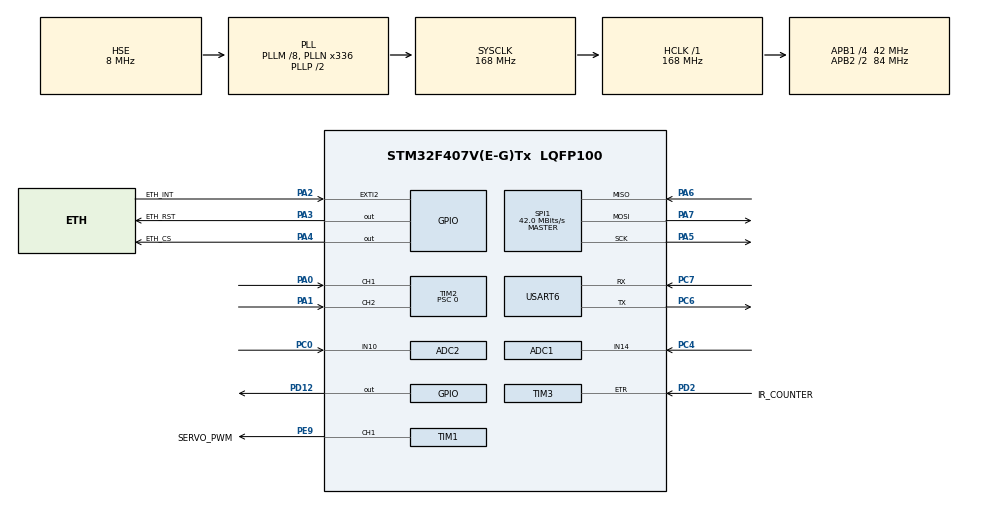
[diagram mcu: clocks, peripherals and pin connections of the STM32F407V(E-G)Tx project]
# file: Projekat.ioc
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ADC1.Channel-1\#ChannelRegularConversion=ADC_CHANNEL_14
ADC1.ContinuousConvMode=ENABLE
ADC1.NbrOfConversionFlag=1
ADC1.Rank-1\#ChannelRegularConversion=1
ADC1.Resolution=ADC_RESOLUTION_8B
ADC1.SamplingTime-1\#ChannelRegularConversion=ADC_SAMPLETIME_3CYCLES
ADC1.master=1
ADC2.Channel-0\#ChannelRegularConversion=ADC_CHANNEL_10
ADC2.NbrOfConversionFlag=1
ADC2.Rank-0\#ChannelRegularConversion=1
ADC2.SamplingTime-0\#ChannelRegularConversion=ADC_SAMPLETIME_3CYCLES
Mcu.Family=STM32F4
Mcu.Name=STM32F407V(E-G)Tx
Mcu.Package=LQFP100
NVIC.ADC_IRQn=true\:0\:0\:false\:false\:true\:true\:true\:true
NVIC.EXTI2_IRQn=true\:0\:0\:false\:false\:true\:true\:true\:true
NVIC.PriorityGroup=NVIC_PRIORITYGROUP_0
NVIC.TIM5_IRQn=true\:0\:0\:false\:false\:true\:true\:true\:true
NVIC.USART6_IRQn=true\:0\:0\:false\:false\:true\:true\:true\:true
PA0-WKUP.Signal=S_TIM2_CH1_ETR
PA1.Signal=S_TIM2_CH2
PA2.GPIO_Label=ETH_INT
PA2.GPIO_ModeDefaultEXTI=GPIO_MODE_IT_FALLING
PA2.GPIO_PuPd=GPIO_PULLUP
PA2.Signal=GPXTI2
PA3.GPIO_Label=ETH_RST
PA3.GPIO_PuPd=GPIO_PULLUP
PA3.GPIO_Speed=GPIO_SPEED_FREQ_VERY_HIGH
PA3.PinState=GPIO_PIN_SET
PA3.Signal=GPIO_Output
PA4.GPIO_Label=ETH_CS
PA4.Signal=GPIO_Output
PA5.Mode=Full_Duplex_Master
PA5.Signal=SPI1_SCK
PA6.Mode=Full_Duplex_Master
PA6.Signal=SPI1_MISO
PA7.Mode=Full_Duplex_Master
PA7.Signal=SPI1_MOSI
PC0.Signal=ADCx_IN10
PC4.Signal=ADCx_IN14
PC6.Mode=Asynchronous
PC6.Signal=USART6_TX
PC7.Mode=Asynchronous
PC7.Signal=USART6_RX
PD12.Signal=GPIO_Output
PD2.GPIO_Label=IR_COUNTER
PD2.Signal=S_TIM3_ETR
PE9.GPIO_Label=SERVO_PWM
PE9.GPIO_PuPd=GPIO_PULLDOWN
PE9.Signal=S_TIM1_CH1
PH0-OSC_IN.Mode=HSE-External-Oscillator
PH0-OSC_IN.Signal=RCC_OSC_IN
PH1-OSC_OUT.Mode=HSE-External-Oscillator
PH1-OSC_OUT.Signal=RCC_OSC_OUT
ProjectManager.HeapSize=0x200
ProjectManager.StackSize=0x400
ProjectManager.TargetToolchain=STM32CubeIDE
RCC.48MHZClocksFreq_Value=48000000
RCC.AHBFreq_Value=168000000
RCC.APB1CLKDivider=RCC_HCLK_DIV4
RCC.APB1Freq_Value=42000000
RCC.APB1TimFreq_Value=84000000
RCC.APB2CLKDivider=RCC_HCLK_DIV2
RCC.APB2Freq_Value=84000000
RCC.APB2TimFreq_Value=168000000
RCC.CortexFreq_Value=168000000
RCC.HCLKFreq_Value=168000000
RCC.HSE_VALUE=8000000
RCC.HSI_VALUE=16000000
RCC.LSE_VALUE=32768
RCC.PLLM=8
RCC.PLLN=336
RCC.PLLQ=7
RCC.PLLSourceVirtual=RCC_PLLSOURCE_HSE
RCC.SYSCLKFreq_VALUE=168000000
RCC.SYSCLKSource=RCC_SYSCLKSOURCE_PLLCLK
RCC.VCOOutputFreq_Value=336000000
SH.ADCx_IN10.0=ADC2_IN10,IN10
SH.ADCx_IN14.0=ADC1_IN14,IN14
SH.S_TIM1_CH1.0=TIM1_CH1,PWM Generation1 CH1
SH.S_TIM2_CH1_ETR.0=TIM2_CH1,Encoder_Interface
SH.S_TIM2_CH2.0=TIM2_CH2,Encoder_Interface
SH.S_TIM3_ETR.0=TIM3_ETR,ClockSourceETR_Mode2
SPI1.CalculateBaudRate=42.0 MBits/s
SPI1.Direction=SPI_DIRECTION_2LINES
SPI1.Mode=SPI_MODE_MASTER
SPI1.VirtualType=VM_MASTER
TIM1.Channel-PWM\ Generation1\ CH1=TIM_CHANNEL_1
TIM1.OCFastMode_PWM-PWM\ Generation1\ CH1=TIM_OCFAST_ENABLE
TIM1.Period=1000+1
TIM1.Prescaler=3360+1
TIM1.Pulse-PWM\ Generation1\ CH1=50
TIM2.AutoReloadPreload=TIM_AUTORELOAD_PRELOAD_ENABLE
TIM2.CounterMode=TIM_COUNTERMODE_CENTERALIGNED1
TIM2.EncoderMode=TIM_ENCODERMODE_TI12
TIM2.Period=58
TIM2.Prescaler=0
TIM5.AutoReloadPreload=TIM_AUTORELOAD_PRELOAD_ENABLE
TIM5.Period=12000
TIM5.Prescaler=42000+1
USART6.VirtualMode=VM_ASYNC
VP_TIM1_VS_ClockSourceINT.Mode=Internal
VP_TIM5_VS_ClockSourceITR.Mode=TriggerSource_ITR0
board=STM32F407G-DISC1

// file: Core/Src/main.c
/* USER CODE BEGIN Header */
/**
 ******************************************************************************
 * @file           : main.c
 * @brief          : Main program body
 ******************************************************************************
 * @attention
 *
 * Copyright (c) 2024 STMicroelectronics.
 * All rights reserved.
 *
 * This software is licensed under terms that can be found in the LICENSE file
 * in the root directory of this software component.
 * If no LICENSE file comes with this software, it is provided AS-IS.
 *
 ******************************************************************************
 */
/* USER CODE END Header */
#include "main.h"

/* USER CODE BEGIN Includes */
#include "string.h"
#include "stdio.h"
#include "eth.h"
#include "servo.h"
#include "w5500.h"
#include "controller.h"

/* USER CODE END Includes */

/* USER CODE BEGIN PD */
#define BUFSIZE 255
#define angle 4
#define diameterInCM 12
#define pi 3
#define TSR 2
#define rotationsPerCycle 3
/* USER CODE END PD */

ADC_HandleTypeDef hadc1;
ADC_HandleTypeDef hadc2;

SPI_HandleTypeDef hspi1;

TIM_HandleTypeDef htim1;
TIM_HandleTypeDef htim2;
TIM_HandleTypeDef htim3;
TIM_HandleTypeDef htim5;

UART_HandleTypeDef huart6;

/* USER CODE BEGIN PV */
uint8_t ETH_RCV = 0;
uint8_t rx_buffer[BUFSIZE + 2] = { 0 };
uint8_t rx_input[1] = { 0 };
uint8_t rx_index = 0;
char msgbuf[1024];
char uart_buff[1024];
char ethbuf[512];
UART_HandleTypeDef *UART = &huart6;
TIM_HandleTypeDef *PWM_Timer = &htim1;
uint8_t sck;
uint16_t speed = 0;
uint16_t encoder_counter = 0;
uint16_t wind_angle = 0;
uint16_t blade_angle = 0;
uint8_t calculate = 0;
struct Controller *ctrl;
int16_t sysload = 0;
uint8_t turn_on = 1;
uint8_t blade_angle_regulator;
uint16_t voltage;
int16_t induction=0;
int16_t resistance;
/* USER CODE END PV */

void SystemClock_Config(void);
static void MX_GPIO_Init(void);
static void MX_USART6_UART_Init(void);
static void MX_TIM1_Init(void);
static void MX_SPI1_Init(void);
static void MX_TIM5_Init(void);
static void MX_TIM3_Init(void);
static void MX_TIM2_Init(void);
static void MX_ADC1_Init(void);
static void MX_ADC2_Init(void);

/* USER CODE BEGIN 0 */

void UART_Message(char *msg) {
	sprintf(msgbuf, msg);
	HAL_UART_Transmit(UART, (uint8_t*) msgbuf, strlen(msgbuf), 100);
}

void UART_Send() {
	HAL_UART_Transmit(UART, (uint8_t*) msgbuf, strlen(msgbuf), 100);
}

void HAL_UART_RxCpltCallback(UART_HandleTypeDef *huart) {
	if (rx_input[0] == (uint8_t) '\r' || rx_input[0] == (uint8_t) '\n') {
		char newline[] = "\r\n";
		HAL_UART_Transmit(UART, (uint8_t*) newline, strlen(newline), 100);
		memcpy(&rx_buffer[rx_index + 1], newline, sizeof newline);

		HAL_UART_Transmit(UART, rx_buffer, sizeof(rx_buffer) / sizeof(uint8_t),
				100);
		rx_index = 0;
		memset(rx_buffer, 0, sizeof(rx_buffer));
	} else {
		HAL_UART_Transmit(UART, rx_input, 1, 100);
		rx_buffer[rx_index++] = rx_input[0];
	}
	HAL_UART_Receive_IT(UART, rx_input, 1);
}

void HAL_GPIO_EXTI_Callback(uint16_t GPIO_Pin) {
	ETH_RCV = ETH_Recieve(&sck, ethbuf);
}

void HAL_TIM_PeriodElapsedCallback(TIM_HandleTypeDef *htim) {
	if (htim == &htim5) {
		speed = CalculateSpeed(htim3.Instance->CNT);
		htim3.Instance->CNT = 0;
		calculate = 1;
	}
}

void windInformation() {
	encoder_counter = __HAL_TIM_GET_COUNTER(&htim2);
	wind_angle = encoder_counter;
	regulator();
	HAL_ADC_PollForConversion(&hadc1, 1000);
	sysload = HAL_ADC_GetValue(&hadc1) >> 1;
	sprintf(uart_buff, "Wind speed: %d m/s, Load: %d%%, Wind angle: %d \r\n", speed, sysload,
			wind_angle);
	HAL_UART_Transmit(&huart6, (uint8_t*) uart_buff, strlen(uart_buff), 500);
	calculate = 0;
}

void regulator(){
	if(wind_angle>60||wind_angle<300) turn_on = 0;
	else if(wind_angle>48||wind_angle<312) blade_angle_regulator = 5;
	else if(wind_angle>36||wind_angle<324) blade_angle_regulator = 4;
	else if(wind_angle>24||wind_angle<336) blade_angle_regulator = 3;
	else if(wind_angle>12||wind_angle<348) blade_angle_regulator = 4;
	else blade_angle_regulator = 1;

	HAL_ADC_Start(&hadc2);
	while(HAL_ADC_PollForConversion(&hadc1, 500) != HAL_OK);
	voltage = (HAL_ADC_GetValue(&hadc2)*3000)/4095;
	induction = (667*voltage-1667)/1000;
	resistance = induction/20;
	if(abs(resistance-sysload)>100){
		sprintf(uart_buff, "Resistance should be changed by %d Ohm\r\n", resistance-sysload);
		HAL_UART_Transmit(&huart6, (uint8_t*) uart_buff, strlen(uart_buff), 500);
	}
}

int CalculateSpeed(uint32_t counter) {
	return counter * pi * diameterInCM * 10 / (TSR * 100 * rotationsPerCycle);
}

//void HAL_ADC_LevelOutOfWindowCallback(ADC_HandleTypeDef *hadc) {
//	/* Set variable to report analog watchdog out of window status to main      */
//	/* program.                                                                 */
//	int uhADCxConvertedValue = HAL_ADC_GetValue(&hadc1);
//	char msg_buffer[1024] = { 0 };
//	sprintf(msg_buffer, hal_msg, uhADCxConvertedValue);
//	HAL_UART_Transmit(&huart6, (uint8_t *)msg_buffer, strlen(msg_buffer), 100);
//}
/* USER CODE END 0 */

int main(void)
{

  /* MCU Configuration--------------------------------------------------------*/

  /* Reset of all peripherals, Initializes the Flash interface and the Systick. */
  HAL_Init();

  /* Configure the system clock */
  SystemClock_Config();

  /* Initialize all configured peripherals */
  MX_GPIO_Init();
  MX_USART6_UART_Init();
  MX_TIM1_Init();
  MX_SPI1_Init();
  MX_TIM5_Init();
  MX_TIM3_Init();
  MX_TIM2_Init();
  MX_ADC1_Init();
  MX_ADC2_Init();
  /* USER CODE BEGIN 2 */
	ETH_Init();
	SERVO_Init();
//	ctrl = CTRL_ControllerZeroInit();
	char temp[256] = {"0303051525015099102030405060708090"};
	ctrl = CTRL_ControllerInit();
	CTRL_SetParameters(ctrl, temp);

	UART_Message("Starting the program ...\r\n");
	HAL_UART_Receive_IT(&huart6, rx_input, 1);

	SERVO_On();

	HAL_TIM_Base_Start_IT(&htim3);
	HAL_TIM_Base_Start_IT(&htim5);
	HAL_TIM_Encoder_Start(&htim2, TIM_CHANNEL_ALL);
	HAL_ADC_Start_IT(&hadc2);
  /* USER CODE END 2 */

  /* Infinite loop */
  /* USER CODE BEGIN WHILE */
	if (ETH_SocketInit(&sck)) {
		ETH_Connect(&sck, "192.168.100.6:8080");
	}
	while (1) {
		if (ETH_RCV) {
			ETH_MessageHandler(&sck, ethbuf, ETH_RCV);
			ETH_RCV = 0;
			memset(ethbuf, 0, sizeof(ethbuf));
		}
		if (calculate) {
			HAL_ADC_Start(&hadc1);
			windInformation();
			int temp = (CTRL_FindAngle(ctrl, speed, sysload) / blade_angle_regulator) * turn_on;
			if (temp != blade_angle){
				sprintf(msgbuf, "Setting blade angle to %d ...\r\n", temp);
				UART_Send();
			}
			blade_angle = temp;
		}
		SERVO_SetAngle(blade_angle);
    /* USER CODE END WHILE */

	}
}

void SystemClock_Config(void)
{
  RCC_OscInitTypeDef RCC_OscInitStruct = {0};
  RCC_ClkInitTypeDef RCC_ClkInitStruct = {0};

  /** Configure the main internal regulator output voltage
  */
  __HAL_RCC_PWR_CLK_ENABLE();
  __HAL_PWR_VOLTAGESCALING_CONFIG(PWR_REGULATOR_VOLTAGE_SCALE1);

  /** Initializes the RCC Oscillators according to the specified parameters
  * in the RCC_OscInitTypeDef structure.
  */
  RCC_OscInitStruct.OscillatorType = RCC_OSCILLATORTYPE_HSE;
  RCC_OscInitStruct.HSEState = RCC_HSE_ON;
  RCC_OscInitStruct.PLL.PLLState = RCC_PLL_ON;
  RCC_OscInitStruct.PLL.PLLSource = RCC_PLLSOURCE_HSE;
  RCC_OscInitStruct.PLL.PLLM = 8;
  RCC_OscInitStruct.PLL.PLLN = 336;
  RCC_OscInitStruct.PLL.PLLP = RCC_PLLP_DIV2;
  RCC_OscInitStruct.PLL.PLLQ = 7;
  if (HAL_RCC_OscConfig(&RCC_OscInitStruct) != HAL_OK)
  {
    Error_Handler();
  }

  /** Initializes the CPU, AHB and APB buses clocks
  */
  RCC_ClkInitStruct.ClockType = RCC_CLOCKTYPE_HCLK|RCC_CLOCKTYPE_SYSCLK
                              |RCC_CLOCKTYPE_PCLK1|RCC_CLOCKTYPE_PCLK2;
  RCC_ClkInitStruct.SYSCLKSource = RCC_SYSCLKSOURCE_PLLCLK;
  RCC_ClkInitStruct.AHBCLKDivider = RCC_SYSCLK_DIV1;
  RCC_ClkInitStruct.APB1CLKDivider = RCC_HCLK_DIV4;
  RCC_ClkInitStruct.APB2CLKDivider = RCC_HCLK_DIV2;

  if (HAL_RCC_ClockConfig(&RCC_ClkInitStruct, FLASH_LATENCY_5) != HAL_OK)
  {
    Error_Handler();
  }
}

static void MX_ADC1_Init(void)
{

  ADC_ChannelConfTypeDef sConfig = {0};

  /** Configure the global features of the ADC (Clock, Resolution, Data Alignment and number of conversion)
  */
  hadc1.Instance = ADC1;
  hadc1.Init.ClockPrescaler = ADC_CLOCK_SYNC_PCLK_DIV4;
  hadc1.Init.Resolution = ADC_RESOLUTION_8B;
  hadc1.Init.ScanConvMode = DISABLE;
  hadc1.Init.ContinuousConvMode = ENABLE;
  hadc1.Init.DiscontinuousConvMode = DISABLE;
  hadc1.Init.ExternalTrigConvEdge = ADC_EXTERNALTRIGCONVEDGE_NONE;
  hadc1.Init.ExternalTrigConv = ADC_SOFTWARE_START;
  hadc1.Init.DataAlign = ADC_DATAALIGN_RIGHT;
  hadc1.Init.NbrOfConversion = 1;
  hadc1.Init.DMAContinuousRequests = DISABLE;
  hadc1.Init.EOCSelection = ADC_EOC_SINGLE_CONV;
  if (HAL_ADC_Init(&hadc1) != HAL_OK)
  {
    Error_Handler();
  }

  /** Configure for the selected ADC regular channel its corresponding rank in the sequencer and its sample time.
  */
  sConfig.Channel = ADC_CHANNEL_14;
  sConfig.Rank = 1;
  sConfig.SamplingTime = ADC_SAMPLETIME_3CYCLES;
  if (HAL_ADC_ConfigChannel(&hadc1, &sConfig) != HAL_OK)
  {
    Error_Handler();
  }

}

static void MX_ADC2_Init(void)
{

  ADC_ChannelConfTypeDef sConfig = {0};

  /** Configure the global features of the ADC (Clock, Resolution, Data Alignment and number of conversion)
  */
  hadc2.Instance = ADC2;
  hadc2.Init.ClockPrescaler = ADC_CLOCK_SYNC_PCLK_DIV4;
  hadc2.Init.Resolution = ADC_RESOLUTION_12B;
  hadc2.Init.ScanConvMode = DISABLE;
  hadc2.Init.ContinuousConvMode = DISABLE;
  hadc2.Init.DiscontinuousConvMode = DISABLE;
  hadc2.Init.ExternalTrigConvEdge = ADC_EXTERNALTRIGCONVEDGE_NONE;
  hadc2.Init.ExternalTrigConv = ADC_SOFTWARE_START;
  hadc2.Init.DataAlign = ADC_DATAALIGN_RIGHT;
  hadc2.Init.NbrOfConversion = 1;
  hadc2.Init.DMAContinuousRequests = DISABLE;
  hadc2.Init.EOCSelection = ADC_EOC_SINGLE_CONV;
  if (HAL_ADC_Init(&hadc2) != HAL_OK)
  {
    Error_Handler();
  }

  /** Configure for the selected ADC regular channel its corresponding rank in the sequencer and its sample time.
  */
  sConfig.Channel = ADC_CHANNEL_10;
  sConfig.Rank = 1;
  sConfig.SamplingTime = ADC_SAMPLETIME_3CYCLES;
  if (HAL_ADC_ConfigChannel(&hadc2, &sConfig) != HAL_OK)
  {
    Error_Handler();
  }

}

static void MX_SPI1_Init(void)
{

  /* SPI1 parameter configuration*/
  hspi1.Instance = SPI1;
  hspi1.Init.Mode = SPI_MODE_MASTER;
  hspi1.Init.Direction = SPI_DIRECTION_2LINES;
  hspi1.Init.DataSize = SPI_DATASIZE_8BIT;
  hspi1.Init.CLKPolarity = SPI_POLARITY_LOW;
  hspi1.Init.CLKPhase = SPI_PHASE_1EDGE;
  hspi1.Init.NSS = SPI_NSS_SOFT;
  hspi1.Init.BaudRatePrescaler = SPI_BAUDRATEPRESCALER_2;
  hspi1.Init.FirstBit = SPI_FIRSTBIT_MSB;
  hspi1.Init.TIMode = SPI_TIMODE_DISABLE;
  hspi1.Init.CRCCalculation = SPI_CRCCALCULATION_DISABLE;
  hspi1.Init.CRCPolynomial = 10;
  if (HAL_SPI_Init(&hspi1) != HAL_OK)
  {
    Error_Handler();
  }

}

static void MX_TIM1_Init(void)
{

  TIM_ClockConfigTypeDef sClockSourceConfig = {0};
  TIM_MasterConfigTypeDef sMasterConfig = {0};
  TIM_OC_InitTypeDef sConfigOC = {0};
  TIM_BreakDeadTimeConfigTypeDef sBreakDeadTimeConfig = {0};

  htim1.Instance = TIM1;
  htim1.Init.Prescaler = 3360+1;
  htim1.Init.CounterMode = TIM_COUNTERMODE_UP;
  htim1.Init.Period = 1000+1;
  htim1.Init.ClockDivision = TIM_CLOCKDIVISION_DIV1;
  htim1.Init.RepetitionCounter = 0;
  htim1.Init.AutoReloadPreload = TIM_AUTORELOAD_PRELOAD_DISABLE;
  if (HAL_TIM_Base_Init(&htim1) != HAL_OK)
  {
    Error_Handler();
  }
  sClockSourceConfig.ClockSource = TIM_CLOCKSOURCE_INTERNAL;
  if (HAL_TIM_ConfigClockSource(&htim1, &sClockSourceConfig) != HAL_OK)
  {
    Error_Handler();
  }
  if (HAL_TIM_PWM_Init(&htim1) != HAL_OK)
  {
    Error_Handler();
  }
  sMasterConfig.MasterOutputTrigger = TIM_TRGO_RESET;
  sMasterConfig.MasterSlaveMode = TIM_MASTERSLAVEMODE_DISABLE;
  if (HAL_TIMEx_MasterConfigSynchronization(&htim1, &sMasterConfig) != HAL_OK)
  {
    Error_Handler();
  }
  sConfigOC.OCMode = TIM_OCMODE_PWM1;
  sConfigOC.Pulse = 50;
  sConfigOC.OCPolarity = TIM_OCPOLARITY_HIGH;
  sConfigOC.OCNPolarity = TIM_OCNPOLARITY_HIGH;
  sConfigOC.OCFastMode = TIM_OCFAST_ENABLE;
  sConfigOC.OCIdleState = TIM_OCIDLESTATE_RESET;
  sConfigOC.OCNIdleState = TIM_OCNIDLESTATE_RESET;
  if (HAL_TIM_PWM_ConfigChannel(&htim1, &sConfigOC, TIM_CHANNEL_1) != HAL_OK)
  {
    Error_Handler();
  }
  sBreakDeadTimeConfig.OffStateRunMode = TIM_OSSR_DISABLE;
  sBreakDeadTimeConfig.OffStateIDLEMode = TIM_OSSI_DISABLE;
  sBreakDeadTimeConfig.LockLevel = TIM_LOCKLEVEL_OFF;
  sBreakDeadTimeConfig.DeadTime = 0;
  sBreakDeadTimeConfig.BreakState = TIM_BREAK_DISABLE;
  sBreakDeadTimeConfig.BreakPolarity = TIM_BREAKPOLARITY_HIGH;
  sBreakDeadTimeConfig.AutomaticOutput = TIM_AUTOMATICOUTPUT_DISABLE;
  if (HAL_TIMEx_ConfigBreakDeadTime(&htim1, &sBreakDeadTimeConfig) != HAL_OK)
  {
    Error_Handler();
  }
  HAL_TIM_MspPostInit(&htim1);

}

static void MX_TIM2_Init(void)
{

  TIM_Encoder_InitTypeDef sConfig = {0};
  TIM_MasterConfigTypeDef sMasterConfig = {0};

  htim2.Instance = TIM2;
  htim2.Init.Prescaler = 0;
  htim2.Init.CounterMode = TIM_COUNTERMODE_CENTERALIGNED1;
  htim2.Init.Period = 58;
  htim2.Init.ClockDivision = TIM_CLOCKDIVISION_DIV1;
  htim2.Init.AutoReloadPreload = TIM_AUTORELOAD_PRELOAD_ENABLE;
  sConfig.EncoderMode = TIM_ENCODERMODE_TI12;
  sConfig.IC1Polarity = TIM_ICPOLARITY_RISING;
  sConfig.IC1Selection = TIM_ICSELECTION_DIRECTTI;
  sConfig.IC1Prescaler = TIM_ICPSC_DIV1;
  sConfig.IC1Filter = 0;
  sConfig.IC2Polarity = TIM_ICPOLARITY_RISING;
  sConfig.IC2Selection = TIM_ICSELECTION_DIRECTTI;
  sConfig.IC2Prescaler = TIM_ICPSC_DIV1;
  sConfig.IC2Filter = 0;
  if (HAL_TIM_Encoder_Init(&htim2, &sConfig) != HAL_OK)
  {
    Error_Handler();
  }
  sMasterConfig.MasterOutputTrigger = TIM_TRGO_RESET;
  sMasterConfig.MasterSlaveMode = TIM_MASTERSLAVEMODE_DISABLE;
  if (HAL_TIMEx_MasterConfigSynchronization(&htim2, &sMasterConfig) != HAL_OK)
  {
    Error_Handler();
  }

}

static void MX_TIM3_Init(void)
{

  TIM_ClockConfigTypeDef sClockSourceConfig = {0};
  TIM_MasterConfigTypeDef sMasterConfig = {0};

  htim3.Instance = TIM3;
  htim3.Init.Prescaler = 0;
  htim3.Init.CounterMode = TIM_COUNTERMODE_UP;
  htim3.Init.Period = 65535;
  htim3.Init.ClockDivision = TIM_CLOCKDIVISION_DIV1;
  htim3.Init.AutoReloadPreload = TIM_AUTORELOAD_PRELOAD_DISABLE;
  if (HAL_TIM_Base_Init(&htim3) != HAL_OK)
  {
    Error_Handler();
  }
  sClockSourceConfig.ClockSource = TIM_CLOCKSOURCE_ETRMODE2;
  sClockSourceConfig.ClockPolarity = TIM_CLOCKPOLARITY_NONINVERTED;
  sClockSourceConfig.ClockPrescaler = TIM_CLOCKPRESCALER_DIV1;
  sClockSourceConfig.ClockFilter = 0;
  if (HAL_TIM_ConfigClockSource(&htim3, &sClockSourceConfig) != HAL_OK)
  {
    Error_Handler();
  }
  sMasterConfig.MasterOutputTrigger = TIM_TRGO_RESET;
  sMasterConfig.MasterSlaveMode = TIM_MASTERSLAVEMODE_DISABLE;
  if (HAL_TIMEx_MasterConfigSynchronization(&htim3, &sMasterConfig) != HAL_OK)
  {
    Error_Handler();
  }

}

static void MX_TIM5_Init(void)
{

  TIM_SlaveConfigTypeDef sSlaveConfig = {0};
  TIM_MasterConfigTypeDef sMasterConfig = {0};

  htim5.Instance = TIM5;
  htim5.Init.Prescaler = 42000+1;
  htim5.Init.CounterMode = TIM_COUNTERMODE_UP;
  htim5.Init.Period = 12000;
  htim5.Init.ClockDivision = TIM_CLOCKDIVISION_DIV1;
  htim5.Init.AutoReloadPreload = TIM_AUTORELOAD_PRELOAD_ENABLE;
  if (HAL_TIM_Base_Init(&htim5) != HAL_OK)
  {
    Error_Handler();
  }
  sSlaveConfig.SlaveMode = TIM_SLAVEMODE_DISABLE;
  sSlaveConfig.InputTrigger = TIM_TS_ITR0;
  if (HAL_TIM_SlaveConfigSynchro(&htim5, &sSlaveConfig) != HAL_OK)
  {
    Error_Handler();
  }
  sMasterConfig.MasterOutputTrigger = TIM_TRGO_RESET;
  sMasterConfig.MasterSlaveMode = TIM_MASTERSLAVEMODE_DISABLE;
  if (HAL_TIMEx_MasterConfigSynchronization(&htim5, &sMasterConfig) != HAL_OK)
  {
    Error_Handler();
  }

}

static void MX_USART6_UART_Init(void)
{

  huart6.Instance = USART6;
  huart6.Init.BaudRate = 115200;
  huart6.Init.WordLength = UART_WORDLENGTH_8B;
  huart6.Init.StopBits = UART_STOPBITS_1;
  huart6.Init.Parity = UART_PARITY_NONE;
  huart6.Init.Mode = UART_MODE_TX_RX;
  huart6.Init.HwFlowCtl = UART_HWCONTROL_NONE;
  huart6.Init.OverSampling = UART_OVERSAMPLING_16;
  if (HAL_UART_Init(&huart6) != HAL_OK)
  {
    Error_Handler();
  }

}

static void MX_GPIO_Init(void)
{
  GPIO_InitTypeDef GPIO_InitStruct = {0};

  /* GPIO Ports Clock Enable */
  __HAL_RCC_GPIOH_CLK_ENABLE();
  __HAL_RCC_GPIOC_CLK_ENABLE();
  __HAL_RCC_GPIOA_CLK_ENABLE();
  __HAL_RCC_GPIOE_CLK_ENABLE();
  __HAL_RCC_GPIOD_CLK_ENABLE();

  /*Configure GPIO pin Output Level */
  HAL_GPIO_WritePin(ETH_RST_GPIO_Port, ETH_RST_Pin, GPIO_PIN_SET);

  /*Configure GPIO pin Output Level */
  HAL_GPIO_WritePin(ETH_CS_GPIO_Port, ETH_CS_Pin, GPIO_PIN_RESET);

  /*Configure GPIO pin Output Level */
  HAL_GPIO_WritePin(GPIOD, GPIO_PIN_12, GPIO_PIN_RESET);

  /*Configure GPIO pin : ETH_INT_Pin */
  GPIO_InitStruct.Pin = ETH_INT_Pin;
  GPIO_InitStruct.Mode = GPIO_MODE_IT_FALLING;
  GPIO_InitStruct.Pull = GPIO_PULLUP;
  HAL_GPIO_Init(ETH_INT_GPIO_Port, &GPIO_InitStruct);

  /*Configure GPIO pin : ETH_RST_Pin */
  GPIO_InitStruct.Pin = ETH_RST_Pin;
  GPIO_InitStruct.Mode = GPIO_MODE_OUTPUT_PP;
  GPIO_InitStruct.Pull = GPIO_PULLUP;
  GPIO_InitStruct.Speed = GPIO_SPEED_FREQ_VERY_HIGH;
  HAL_GPIO_Init(ETH_RST_GPIO_Port, &GPIO_InitStruct);

  /*Configure GPIO pin : ETH_CS_Pin */
  GPIO_InitStruct.Pin = ETH_CS_Pin;
  GPIO_InitStruct.Mode = GPIO_MODE_OUTPUT_PP;
  GPIO_InitStruct.Pull = GPIO_NOPULL;
  GPIO_InitStruct.Speed = GPIO_SPEED_FREQ_LOW;
  HAL_GPIO_Init(ETH_CS_GPIO_Port, &GPIO_InitStruct);

  /*Configure GPIO pin : PD12 */
  GPIO_InitStruct.Pin = GPIO_PIN_12;
  GPIO_InitStruct.Mode = GPIO_MODE_OUTPUT_PP;
  GPIO_InitStruct.Pull = GPIO_NOPULL;
  GPIO_InitStruct.Speed = GPIO_SPEED_FREQ_LOW;
  HAL_GPIO_Init(GPIOD, &GPIO_InitStruct);

  /* EXTI interrupt init*/
  HAL_NVIC_SetPriority(EXTI2_IRQn, 0, 0);
  HAL_NVIC_EnableIRQ(EXTI2_IRQn);

}

void Error_Handler(void)
{
	__disable_irq();
	while (1) {
	}
}
